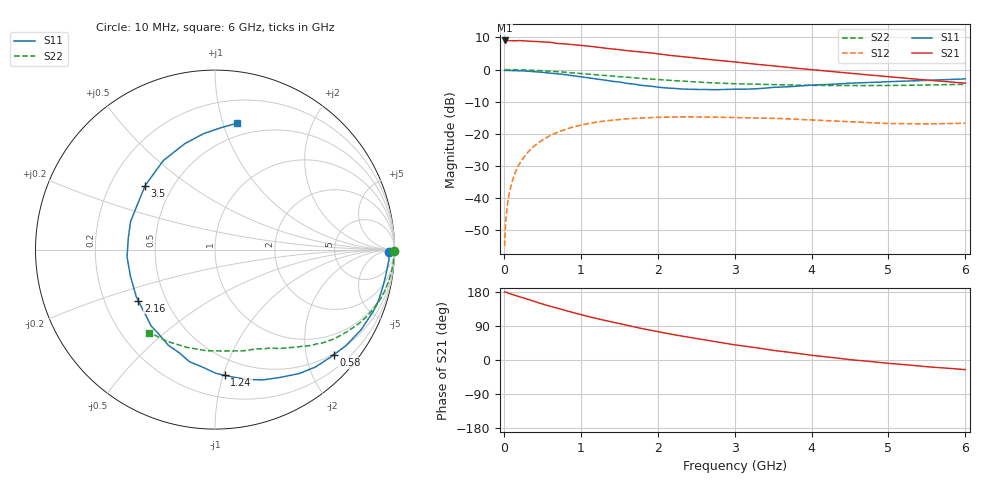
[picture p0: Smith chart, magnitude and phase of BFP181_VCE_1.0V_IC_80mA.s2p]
! (c) 2016  Infineon Technologies AG, Munich
! Infineon Technologies  Discrete & RF Semiconductors
! BFP181
! VCE = 1.0 V,  IC =  80 mA
! Common Emitter S-Parameters:  Jan 2016
# GHz  S  MA  R  50
!  f  S11  S21  S12  S22
! GHz  MAG  ANG  MAG  ANG  MAG  ANG  MAG  ANG
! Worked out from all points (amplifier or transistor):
!   210 points, 10 MHz to 6 GHz, reference 50 ohm
!   highest |S21| = 9.0 dB at 10 MHz (marker M1)
!   |S21| within 3 dB of that: start of sweep to 1.549 GHz
!   unconditionally stable (mu >= 1): 3.083 GHz to end of sweep
!   at 185 MHz: K = 0.06, MSG = 19.5 dB, |S12| = -30.1 dB
!   at 1.52 GHz: K = 0.53, MSG = 10.8 dB, |S12| = -15.5 dB
!   at 6 GHz: K = 1.41, MAG = 2.4 dB, |S12| = -16.7 dB
!   S11 on the Smith chart (normalised r, x): 10 MHz: 51, -21; 580 MHz: 0.48, -2.55; 1.24 GHz: 0.37, -1.01; 2.16 GHz: 0.35, -0.27; 3.5 GHz: 0.35, +0.35; 6 GHz: 0.39, +1.12
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0.01  0.9668 -0.8  2.83 179.7  0.0018 89.2  0.9993 -0.3
0.025  0.9709 -1.7  2.816 179.0  0.0043 82.4  0.998 -1.0
0.05  0.9706 -3.4  2.821 176.8  0.0086 92.1  0.9979 -1.8
0.09  0.9648 -6.7  2.809 174.3  0.015 84.7  0.9975 -3.2
0.15  0.9599 -11.1  2.793 170.4  0.0255 81.7  0.994 -5.3
0.2  0.9555 -14.8  2.817 167.1  0.0338 80.6  0.9914 -7.1
0.32  0.9407 -23.1  2.759 159.9  0.0531 73.9  0.9805 -11.3
0.42  0.9227 -30.1  2.727 152.9  0.0684 69.4  0.9695 -14.7
0.58  0.8836 -41.6  2.656 143.2  0.0912 61.9  0.9459 -19.9
0.8  0.8337 -56.0  2.502 130.7  0.1174 52.7  0.9073 -26.4
1.02  0.7662 -71.3  2.355 118.8  0.1382 43.8  0.8634 -32.3
1.24  0.7024 -85.5  2.203 108.0  0.1546 35.8  0.8224 -37.6
1.6  0.6099 -108.7  1.966 91.6  0.1719 25.6  0.7599 -44.5
1.8  0.5663 -123.2  1.871 82.7  0.1773 20.8  0.7265 -47.9
2.02  0.5292 -137.4  1.746 74.1  0.1813 15.8  0.6954 -51.5
2.16  0.5135 -146.4  1.661 68.7  0.1828 12.8  0.6788 -53.8
2.7  0.4867 178.8  1.421 50.0  0.1822 3.3  0.6231 -62.0
3.1  0.4947 156.8  1.273 37.5  0.1787 -2.5  0.5973 -68.3
3.5  0.5281 137.5  1.142 25.4  0.1754 -6.7  0.5852 -74.7
4.1  0.5785 117.2  0.971 10.3  0.1625 -11.0  0.5658 -86.5
5.1  0.6539 94.0  0.754 -10.4  0.1446 -12.5  0.5668 -108.2
6  0.7156 80.0  0.615 -25.4  0.1462 -8.4  0.5895 -128.4
